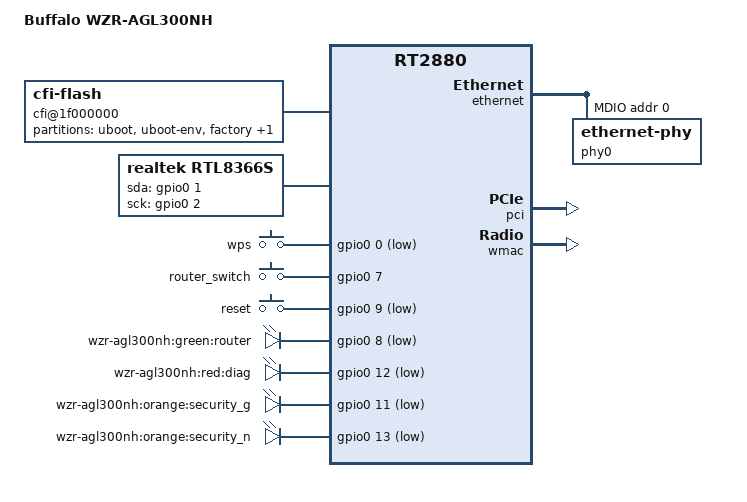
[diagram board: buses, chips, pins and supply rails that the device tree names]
/dts-v1/;

#include "rt2880.dtsi"

#include <dt-bindings/gpio/gpio.h>
#include <dt-bindings/input/input.h>

/ {
	#address-cells = <1>;
	#size-cells = <1>;
	compatible = "buffalo,wzr-agl300nh", "ralink,rt2880-soc";
	model = "Buffalo WZR-AGL300NH";

	aliases {
		led-status = &led_router;
	};

	cfi@1f000000 {
		compatible = "cfi-flash";
		reg = <0x1f000000 0x800000>;
		bank-width = <2>;
		device-width = <2>;

		partitions {
			compatible = "fixed-partitions";
			#address-cells = <1>;
			#size-cells = <1>;

			partition@0 {
				label = "uboot";
				reg = <0x0 0x30000>;
				read-only;
			};

			partition@30000 {
				label = "uboot-env";
				reg = <0x30000 0x10000>;
				read-only;
			};

			factory: partition@40000 {
				label = "factory";
				reg = <0x40000 0x10000>;
				read-only;
			};

			partition@50000 {
				label = "firmware";
				reg = <0x50000 0x3b0000>;
			};
		};
	};

	rtl8366s {
		compatible = "realtek,rtl8366s";
		gpio-sda = <&gpio0 1 GPIO_ACTIVE_HIGH>;
		gpio-sck = <&gpio0 2 GPIO_ACTIVE_HIGH>;
	};

	gpio-keys-polled {
		compatible = "gpio-keys-polled";
		poll-interval = <100>;

		wps {
			label = "wps";
			gpios = <&gpio0 0 GPIO_ACTIVE_LOW>;
			linux,code = <KEY_WPS_BUTTON>;
		};

		router {
			label = "router_switch";
			gpios = <&gpio0 7 GPIO_ACTIVE_HIGH>;
			linux,code = <BTN_0>;
		};

		reset {
			label = "reset";
			gpios = <&gpio0 9 GPIO_ACTIVE_LOW>;
			linux,code = <KEY_RESTART>;
		};
	};

	gpio-leds {
		compatible = "gpio-leds";

		led_router: router {
			label = "wzr-agl300nh:green:router";
			gpios = <&gpio0 8 GPIO_ACTIVE_LOW>;
		};

		diag {
			label = "wzr-agl300nh:red:diag";
			gpios = <&gpio0 12 GPIO_ACTIVE_LOW>;
		};

		security_g {
			label = "wzr-agl300nh:orange:security_g";
			gpios = <&gpio0 11 GPIO_ACTIVE_LOW>;
		};

		security_n {
			label = "wzr-agl300nh:orange:security_n";
			gpios = <&gpio0 13 GPIO_ACTIVE_LOW>;
		};
	};
};

&gpio0 {
	status = "okay";
};

&pinctrl {
	state_default: pinctrl0 {
		gpio {
			ralink,group = "i2c", "uartlite", "mdio";
			ralink,function = "gpio";
		};
	};
};

&ethernet {
	status = "okay";
	mtd-mac-address = <&factory 0x4>;

	port@0 {
		mediatek,fixed-link = <1000 1 1 1>;
	};

	mdio-bus {
		status = "okay";

		phy0: ethernet-phy@0 {
			phy-mode = "mii";
			reg = <0>;
		};
	};
};

&pci {
	status = "okay";
};

&wmac {
	ralink,mtd-eeprom = <&factory 0>;
};
